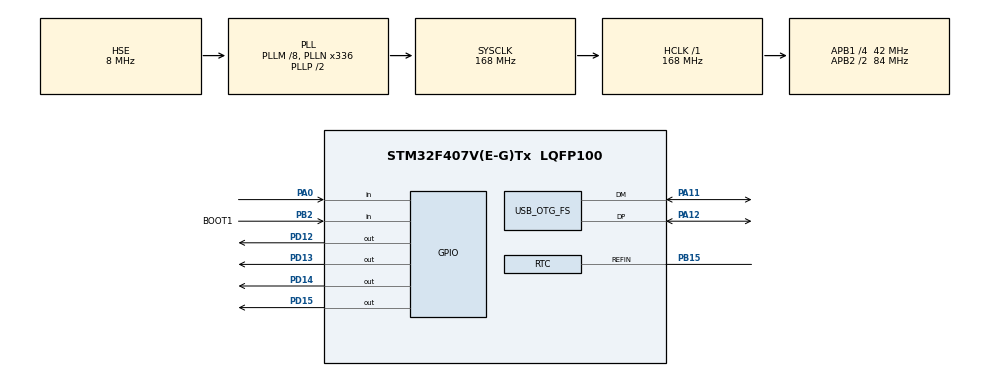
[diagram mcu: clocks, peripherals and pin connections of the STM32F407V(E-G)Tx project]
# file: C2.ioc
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Mcu.Family=STM32F4
Mcu.Name=STM32F407V(E-G)Tx
Mcu.Package=LQFP100
NVIC.OTG_FS_IRQn=true\:0\:0\:false\:false\:true\:false
NVIC.PriorityGroup=NVIC_PRIORITYGROUP_0
PA0-WKUP.Signal=GPIO_Input
PA11.Mode=Device_Only
PA11.Signal=USB_OTG_FS_DM
PA12.Mode=Device_Only
PA12.Signal=USB_OTG_FS_DP
PA13.GPIO_Label=SWDIO
PA13.Mode=Trace_Asynchronous_SW
PA13.Signal=SYS_JTMS-SWDIO
PA14.GPIO_Label=SWCLK
PA14.Mode=Trace_Asynchronous_SW
PA14.Signal=SYS_JTCK-SWCLK
PB15.Mode=Reference_Clock_Detection_Activate
PB15.Signal=RTC_REFIN
PB2.GPIO_Label=BOOT1
PB2.GPIO_Mode=GPIO_MODE_INPUT
PB2.GPIO_PuPd=GPIO_NOPULL
PB2.Signal=GPIO_Input
PB3.GPIO_Label=SWO
PB3.Mode=Trace_Asynchronous_SW
PB3.Signal=SYS_JTDO-SWO
PD12.Signal=GPIO_Output
PD13.Signal=GPIO_Output
PD14.Signal=GPIO_Output
PD15.Signal=GPIO_Output
PH0-OSC_IN.GPIO_Label=PH0-OSC_IN
PH0-OSC_IN.Mode=HSE-External-Oscillator
PH0-OSC_IN.Signal=RCC_OSC_IN
PH1-OSC_OUT.GPIO_Label=PH1-OSC_OUT
PH1-OSC_OUT.Mode=HSE-External-Oscillator
PH1-OSC_OUT.Signal=RCC_OSC_OUT
ProjectManager.HeapSize=0x400
ProjectManager.StackSize=0x400
ProjectManager.TargetToolchain=MDK-ARM V5
RCC.AHBFreq_Value=168000000
RCC.APB1CLKDivider=RCC_HCLK_DIV4
RCC.APB1Freq_Value=42000000
RCC.APB1TimFreq_Value=84000000
RCC.APB2CLKDivider=RCC_HCLK_DIV2
RCC.APB2Freq_Value=84000000
RCC.APB2TimFreq_Value=168000000
RCC.CortexFreq_Value=168000000
RCC.HCLKFreq_Value=168000000
RCC.HSE_VALUE=8000000
RCC.HSI_VALUE=16000000
RCC.LSE_VALUE=32768
RCC.PLLM=8
RCC.PLLN=336
RCC.PLLQ=7
RCC.SYSCLKFreq_VALUE=168000000
RCC.SYSCLKSource=RCC_SYSCLKSOURCE_PLLCLK
RCC.VCOOutputFreq_Value=336000000
USB_DEVICE.CLASS_NAME_FS=CDC
USB_DEVICE.VirtualMode-CDC_FS=Cdc
USB_DEVICE.VirtualModeFS=Cdc_FS
USB_OTG_FS.VirtualMode=Device_Only
VP_RTC_VS_RTC_Activate.Mode=RTC_Enabled
VP_USB_DEVICE_VS_USB_DEVICE_CDC_FS.Mode=CDC_FS
board=STM32F4DISCOVERY

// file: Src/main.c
/**
  ******************************************************************************
  * File Name          : main.c
  * Description        : Main program body
  ******************************************************************************
  * This notice applies to any and all portions of this file
  * that are not between comment pairs USER CODE BEGIN and
  * USER CODE END. Other portions of this file, whether
  * inserted by the user or by software development tools
  * are owned by their respective copyright owners.
  *
  * Copyright (c) 2018 STMicroelectronics International N.V.
  * All rights reserved.
  *
  * Redistribution and use in source and binary forms, with or without
  * modification, are permitted, provided that the following conditions are met:
  *
  * 1. Redistribution of source code must retain the above copyright notice,
  *    this list of conditions and the following disclaimer.
  * 2. Redistributions in binary form must reproduce the above copyright notice,
  *    this list of conditions and the following disclaimer in the documentation
  *    and/or other materials provided with the distribution.
  * 3. Neither the name of STMicroelectronics nor the names of other
  *    contributors to this software may be used to endorse or promote products
  *    derived from this software without specific written permission.
  * 4. This software, including modifications and/or derivative works of this
  *    software, must execute solely and exclusively on microcontroller or
  *    microprocessor devices manufactured by or for STMicroelectronics.
  * 5. Redistribution and use of this software other than as permitted under
  *    this license is void and will automatically terminate your rights under
  *    this license.
  *
  * THIS SOFTWARE IS PROVIDED BY STMICROELECTRONICS AND CONTRIBUTORS "AS IS"
  * AND ANY EXPRESS, IMPLIED OR STATUTORY WARRANTIES, INCLUDING, BUT NOT
  * LIMITED TO, THE IMPLIED WARRANTIES OF MERCHANTABILITY, FITNESS FOR A
  * PARTICULAR PURPOSE AND NON-INFRINGEMENT OF THIRD PARTY INTELLECTUAL PROPERTY
  * RIGHTS ARE DISCLAIMED TO THE FULLEST EXTENT PERMITTED BY LAW. IN NO EVENT
  * SHALL STMICROELECTRONICS OR CONTRIBUTORS BE LIABLE FOR ANY DIRECT, INDIRECT,
  * INCIDENTAL, SPECIAL, EXEMPLARY, OR CONSEQUENTIAL DAMAGES (INCLUDING, BUT NOT
  * LIMITED TO, PROCUREMENT OF SUBSTITUTE GOODS OR SERVICES; LOSS OF USE, DATA,
  * OR PROFITS; OR BUSINESS INTERRUPTION) HOWEVER CAUSED AND ON ANY THEORY OF
  * LIABILITY, WHETHER IN CONTRACT, STRICT LIABILITY, OR TORT (INCLUDING
  * NEGLIGENCE OR OTHERWISE) ARISING IN ANY WAY OUT OF THE USE OF THIS SOFTWARE,
  * EVEN IF ADVISED OF THE POSSIBILITY OF SUCH DAMAGE.
  *
  ******************************************************************************
  */

#include "main.h"
#include "stm32f4xx_hal.h"
#include "usb_device.h"

/* USER CODE BEGIN Includes */
uint8_t CDC_Transmit_FS(uint8_t* Buf, uint16_t Len);
#include "retar.c"
#include "stm32fxx_hal_rtc.c"
/* USER CODE END Includes */

RTC_HandleTypeDef hrtc;

/* USER CODE BEGIN PV */
/* Private variables ---------------------------------------------------------*/

/* USER CODE END PV */

void SystemClock_Config(void);
static void MX_GPIO_Init(void);
static void MX_RTC_Init(void);

/* USER CODE BEGIN PFP */
/* Private function prototypes -----------------------------------------------*/

/* USER CODE END PFP */

int main(void)
{

  /* USER CODE BEGIN 1 */
	RTC_TimeTypeDef sTime;
	uint8_t OutBuf[64] = "Hello, ";
  /* USER CODE END 1 */

  /* MCU Configuration----------------------------------------------------------*/

  /* Reset of all peripherals, Initializes the Flash interface and the Systick. */
  HAL_Init();

  /* Configure the system clock */
  SystemClock_Config();

  /* Initialize all configured peripherals */
  MX_GPIO_Init();
  MX_RTC_Init();
  MX_USB_DEVICE_Init();

  /* USER CODE BEGIN 2 */
	HAL_Delay(10);
	printf("Started...\n");
	HAL_Delay(10);
	printf("%d\n",HAL_RCC_GetHCLKFreq());
	printf("%d\n",HAL_GetTick());
	HAL_Delay(1000);
	printf("%d\n",HAL_GetTick());
	sTime.Hours=16;
	sTime.Minutes=01;
	sTime.Seconds=23;
	sTime.SubSeconds=0;
	HAL_RTC_SetTime (&hrtc, &sTime, RTC_FORMAT_BIN);
  /* USER CODE END 2 */

  /* Infinite loop */
  while (1)
  {

  /* USER CODE BEGIN 3 */
			HAL_GPIO_TogglePin(GPIOD, GPIO_PIN_12);

			if ( HAL_GPIO_ReadPin(GPIOA,GPIO_PIN_0) )
				HAL_GPIO_WritePin(GPIOD, GPIO_PIN_15, GPIO_PIN_SET);
			else
				HAL_GPIO_WritePin(GPIOD, GPIO_PIN_15, GPIO_PIN_RESET);

			HAL_RTC_GetTime (&hrtc, &sTime, RTC_FORMAT_BIN);
			printf("%d:%d:%d\n",sTime. Hours, sTime.Minutes, sTime.Seconds);
			HAL_Delay(2400);

			CDC_Transmit_FS(OutBuf,strlen((const char*)OutBuf));
			printf("Alexander\n");
  }
  /* USER CODE END 3 */

}

/** System Clock Configuration
*/
void SystemClock_Config(void)
{

  RCC_OscInitTypeDef RCC_OscInitStruct;
  RCC_ClkInitTypeDef RCC_ClkInitStruct;
  RCC_PeriphCLKInitTypeDef PeriphClkInitStruct;

    /**Configure the main internal regulator output voltage
    */
  __HAL_RCC_PWR_CLK_ENABLE();

  __HAL_PWR_VOLTAGESCALING_CONFIG(PWR_REGULATOR_VOLTAGE_SCALE1);

    /**Initializes the CPU, AHB and APB busses clocks
    */
  RCC_OscInitStruct.OscillatorType = RCC_OSCILLATORTYPE_LSI|RCC_OSCILLATORTYPE_HSE;
  RCC_OscInitStruct.HSEState = RCC_HSE_ON;
  RCC_OscInitStruct.LSIState = RCC_LSI_ON;
  RCC_OscInitStruct.PLL.PLLState = RCC_PLL_ON;
  RCC_OscInitStruct.PLL.PLLSource = RCC_PLLSOURCE_HSE;
  RCC_OscInitStruct.PLL.PLLM = 8;
  RCC_OscInitStruct.PLL.PLLN = 336;
  RCC_OscInitStruct.PLL.PLLP = RCC_PLLP_DIV2;
  RCC_OscInitStruct.PLL.PLLQ = 7;
  if (HAL_RCC_OscConfig(&RCC_OscInitStruct) != HAL_OK)
  {
    _Error_Handler(__FILE__, __LINE__);
  }

    /**Initializes the CPU, AHB and APB busses clocks
    */
  RCC_ClkInitStruct.ClockType = RCC_CLOCKTYPE_HCLK|RCC_CLOCKTYPE_SYSCLK
                              |RCC_CLOCKTYPE_PCLK1|RCC_CLOCKTYPE_PCLK2;
  RCC_ClkInitStruct.SYSCLKSource = RCC_SYSCLKSOURCE_PLLCLK;
  RCC_ClkInitStruct.AHBCLKDivider = RCC_SYSCLK_DIV1;
  RCC_ClkInitStruct.APB1CLKDivider = RCC_HCLK_DIV4;
  RCC_ClkInitStruct.APB2CLKDivider = RCC_HCLK_DIV2;

  if (HAL_RCC_ClockConfig(&RCC_ClkInitStruct, FLASH_LATENCY_5) != HAL_OK)
  {
    _Error_Handler(__FILE__, __LINE__);
  }

  PeriphClkInitStruct.PeriphClockSelection = RCC_PERIPHCLK_RTC;
  PeriphClkInitStruct.RTCClockSelection = RCC_RTCCLKSOURCE_LSI;
  if (HAL_RCCEx_PeriphCLKConfig(&PeriphClkInitStruct) != HAL_OK)
  {
    _Error_Handler(__FILE__, __LINE__);
  }

    /**Configure the Systick interrupt time
    */
  HAL_SYSTICK_Config(HAL_RCC_GetHCLKFreq()/1000);

    /**Configure the Systick
    */
  HAL_SYSTICK_CLKSourceConfig(SYSTICK_CLKSOURCE_HCLK);

  /* SysTick_IRQn interrupt configuration */
  HAL_NVIC_SetPriority(SysTick_IRQn, 0, 0);
}

/* RTC init function */
static void MX_RTC_Init(void)
{

    /**Initialize RTC Only
    */
  hrtc.Instance = RTC;
  hrtc.Init.HourFormat = RTC_HOURFORMAT_24;
  hrtc.Init.AsynchPrediv = 127;
  hrtc.Init.SynchPrediv = 255;
  hrtc.Init.OutPut = RTC_OUTPUT_DISABLE;
  hrtc.Init.OutPutPolarity = RTC_OUTPUT_POLARITY_HIGH;
  hrtc.Init.OutPutType = RTC_OUTPUT_TYPE_OPENDRAIN;
  if (HAL_RTC_Init(&hrtc) != HAL_OK)
  {
    _Error_Handler(__FILE__, __LINE__);
  }

    /**Enable the reference Clock input
    */
  if (HAL_RTCEx_SetRefClock(&hrtc) != HAL_OK)
  {
    _Error_Handler(__FILE__, __LINE__);
  }

}

/** Configure pins as
        * Analog
        * Input
        * Output
        * EVENT_OUT
        * EXTI
        * Free pins are configured automatically as Analog (this feature is enabled through
        * the Code Generation settings)
*/
static void MX_GPIO_Init(void)
{

  GPIO_InitTypeDef GPIO_InitStruct;

  /* GPIO Ports Clock Enable */
  __HAL_RCC_GPIOE_CLK_ENABLE();
  __HAL_RCC_GPIOC_CLK_ENABLE();
  __HAL_RCC_GPIOH_CLK_ENABLE();
  __HAL_RCC_GPIOA_CLK_ENABLE();
  __HAL_RCC_GPIOB_CLK_ENABLE();
  __HAL_RCC_GPIOD_CLK_ENABLE();

  /*Configure GPIO pin Output Level */
  HAL_GPIO_WritePin(GPIOD, GPIO_PIN_12|GPIO_PIN_13|GPIO_PIN_14|GPIO_PIN_15, GPIO_PIN_RESET);

  /*Configure GPIO pins : PE2 PE3 PE4 PE5
                           PE6 PE7 PE8 PE9
                           PE10 PE11 PE12 PE13
                           PE14 PE15 PE0 PE1 */
  GPIO_InitStruct.Pin = GPIO_PIN_2|GPIO_PIN_3|GPIO_PIN_4|GPIO_PIN_5
                          |GPIO_PIN_6|GPIO_PIN_7|GPIO_PIN_8|GPIO_PIN_9
                          |GPIO_PIN_10|GPIO_PIN_11|GPIO_PIN_12|GPIO_PIN_13
                          |GPIO_PIN_14|GPIO_PIN_15|GPIO_PIN_0|GPIO_PIN_1;
  GPIO_InitStruct.Mode = GPIO_MODE_ANALOG;
  GPIO_InitStruct.Pull = GPIO_NOPULL;
  HAL_GPIO_Init(GPIOE, &GPIO_InitStruct);

  /*Configure GPIO pins : PC13 PC14 PC15 PC0
                           PC1 PC2 PC3 PC4
                           PC5 PC6 PC7 PC8
                           PC9 PC10 PC11 PC12 */
  GPIO_InitStruct.Pin = GPIO_PIN_13|GPIO_PIN_14|GPIO_PIN_15|GPIO_PIN_0
                          |GPIO_PIN_1|GPIO_PIN_2|GPIO_PIN_3|GPIO_PIN_4
                          |GPIO_PIN_5|GPIO_PIN_6|GPIO_PIN_7|GPIO_PIN_8
                          |GPIO_PIN_9|GPIO_PIN_10|GPIO_PIN_11|GPIO_PIN_12;
  GPIO_InitStruct.Mode = GPIO_MODE_ANALOG;
  GPIO_InitStruct.Pull = GPIO_NOPULL;
  HAL_GPIO_Init(GPIOC, &GPIO_InitStruct);

  /*Configure GPIO pin : PA0 */
  GPIO_InitStruct.Pin = GPIO_PIN_0;
  GPIO_InitStruct.Mode = GPIO_MODE_INPUT;
  GPIO_InitStruct.Pull = GPIO_NOPULL;
  HAL_GPIO_Init(GPIOA, &GPIO_InitStruct);

  /*Configure GPIO pins : PA1 PA2 PA3 PA4
                           PA5 PA6 PA7 PA8
                           PA9 PA10 PA15 */
  GPIO_InitStruct.Pin = GPIO_PIN_1|GPIO_PIN_2|GPIO_PIN_3|GPIO_PIN_4
                          |GPIO_PIN_5|GPIO_PIN_6|GPIO_PIN_7|GPIO_PIN_8
                          |GPIO_PIN_9|GPIO_PIN_10|GPIO_PIN_15;
  GPIO_InitStruct.Mode = GPIO_MODE_ANALOG;
  GPIO_InitStruct.Pull = GPIO_NOPULL;
  HAL_GPIO_Init(GPIOA, &GPIO_InitStruct);

  /*Configure GPIO pins : PB0 PB1 PB10 PB11
                           PB12 PB13 PB14 PB4
                           PB5 PB6 PB7 PB8
                           PB9 */
  GPIO_InitStruct.Pin = GPIO_PIN_0|GPIO_PIN_1|GPIO_PIN_10|GPIO_PIN_11
                          |GPIO_PIN_12|GPIO_PIN_13|GPIO_PIN_14|GPIO_PIN_4
                          |GPIO_PIN_5|GPIO_PIN_6|GPIO_PIN_7|GPIO_PIN_8
                          |GPIO_PIN_9;
  GPIO_InitStruct.Mode = GPIO_MODE_ANALOG;
  GPIO_InitStruct.Pull = GPIO_NOPULL;
  HAL_GPIO_Init(GPIOB, &GPIO_InitStruct);

  /*Configure GPIO pin : BOOT1_Pin */
  GPIO_InitStruct.Pin = BOOT1_Pin;
  GPIO_InitStruct.Mode = GPIO_MODE_INPUT;
  GPIO_InitStruct.Pull = GPIO_NOPULL;
  HAL_GPIO_Init(BOOT1_GPIO_Port, &GPIO_InitStruct);

  /*Configure GPIO pins : PD8 PD9 PD10 PD11
                           PD0 PD1 PD2 PD3
                           PD4 PD5 PD6 PD7 */
  GPIO_InitStruct.Pin = GPIO_PIN_8|GPIO_PIN_9|GPIO_PIN_10|GPIO_PIN_11
                          |GPIO_PIN_0|GPIO_PIN_1|GPIO_PIN_2|GPIO_PIN_3
                          |GPIO_PIN_4|GPIO_PIN_5|GPIO_PIN_6|GPIO_PIN_7;
  GPIO_InitStruct.Mode = GPIO_MODE_ANALOG;
  GPIO_InitStruct.Pull = GPIO_NOPULL;
  HAL_GPIO_Init(GPIOD, &GPIO_InitStruct);

  /*Configure GPIO pins : PD12 PD13 PD14 PD15 */
  GPIO_InitStruct.Pin = GPIO_PIN_12|GPIO_PIN_13|GPIO_PIN_14|GPIO_PIN_15;
  GPIO_InitStruct.Mode = GPIO_MODE_OUTPUT_PP;
  GPIO_InitStruct.Pull = GPIO_NOPULL;
  GPIO_InitStruct.Speed = GPIO_SPEED_FREQ_LOW;
  HAL_GPIO_Init(GPIOD, &GPIO_InitStruct);

}

void _Error_Handler(char * file, int line)
{
  while(1)
  {
  }
}

/************************ (C) COPYRIGHT STMicroelectronics *****END OF FILE****/
